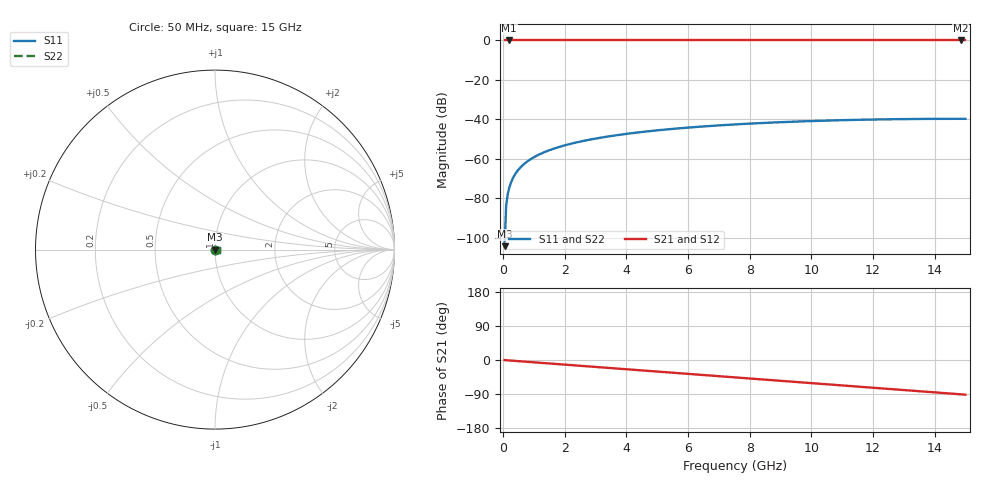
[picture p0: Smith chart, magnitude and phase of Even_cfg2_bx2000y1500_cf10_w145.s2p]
! Sonnet Data File
! From: emgraph Version : 16.52
! From Emgraph Data: Waveguide
! Data File Written: 09/24/2017 09:58:34
!< HDATE 09/24/2017 00:41:10
!< MDATE 09/24/2017 00:41:10
# GHZ S MA R 50.00000
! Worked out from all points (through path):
!   300 points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, 50 MHz to 15 GHz, reference 50 ohm
!   highest |S21| = 0.00 dB at 200 MHz (marker M1); lowest = 0.0 dB at 14.85 GHz (marker M2)
!   group delay of S21, straight-line fit = 16.9 ps
!   lowest |S11| = -104.3 dB at 50 MHz (marker M3), VSWR 1.00, Z = 50 + j0.000612 ohm
!   |S11| at or under -10 dB: start of sweep to end of sweep
!   |S22| runs from -104.3 to -39.7 dB; largest |S21 - S12| = 0
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0.05  6.117e-06 89.8  1 -0.3  1 -0.3  6.117e-06 89.8
!< P1 F=0.05 Eeff=(6.41842955 -2.9295e-5) Z0=(50.3985689 1.18663e-4) R=0.0 C=0.0
!< P2 F=0.05 Eeff=(6.41842955 -2.9295e-5) Z0=(50.3985689 1.18663e-4) R=0.0 C=0.0
0.1  6.567e-05 90.1  1 -0.6  1 -0.6  6.566e-05 90.1
0.15  0.0001249 89.7  1 -0.9  1 -0.9  0.0001249 89.7
0.2  0.0001839 89.4  1 -1.2  1 -1.2  0.0001839 89.4
0.25  0.0002426 89.0  1 -1.5  1 -1.5  0.0002426 89.0
0.3  0.0003011 88.6  1 -1.8  1 -1.8  0.0003011 88.6
0.35  0.0003593 88.3  1 -2.1  1 -2.1  0.0003593 88.3
0.45  0.0004751 87.6  1 -2.7  1 -2.7  0.0004751 87.6
0.65  0.0007041 86.2  1 -4.0  1 -4.0  0.0007041 86.2
0.9  0.0009864 84.6  1 -5.5  1 -5.5  0.0009864 84.6
1.2  0.001321 82.7  1 -7.3  1 -7.3  0.001321 82.7
1.55  0.001706 80.5  1 -9.5  1 -9.5  0.001706 80.5
2  0.002195 77.8  1 -12.2  1 -12.2  0.002195 77.8
2.55  0.002785 74.5  1 -15.6  1 -15.6  0.002785 74.5
3.65  0.003935 67.8  1 -22.3  1 -22.3  0.003935 67.8
5.05  0.005318 59.2  1 -30.8  1 -30.8  0.005318 59.2
6.25  0.006409 51.9  1 -38.1  1 -38.1  0.006409 51.9
7.55  0.007471 44.0  1 -46.0  1 -46.0  0.007471 44.0
10.05  0.009093 28.7  1 -61.3  1 -61.3  0.009093 28.7
12.55  0.01007 13.5  0.9999 -76.5  0.9999 -76.5  0.01007 13.5
14.85  0.01034 -0.6  0.9999 -90.6  0.9999 -90.6  0.01034 -0.6
15  0.01033 -1.5  0.9999 -91.5  0.9999 -91.5  0.01033 -1.5
